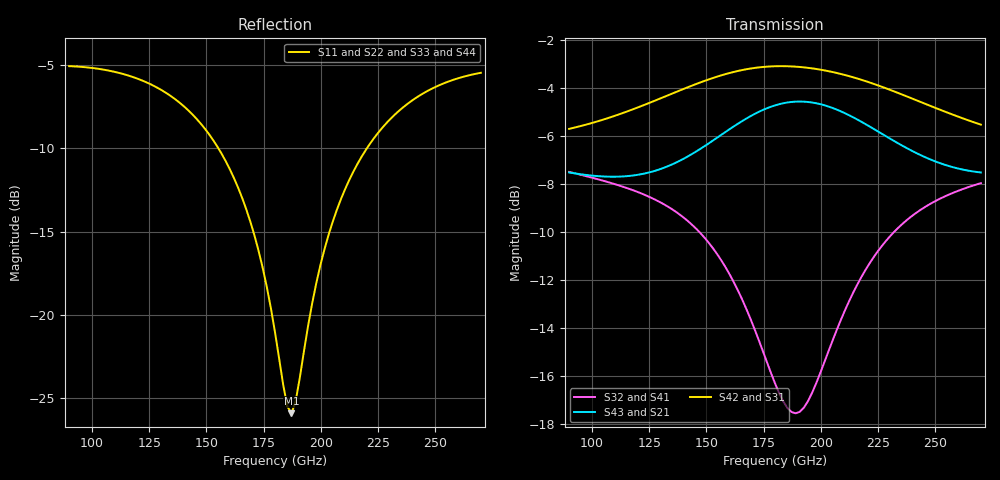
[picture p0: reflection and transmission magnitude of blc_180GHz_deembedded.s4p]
! Created with skrf 2.2.0 (http://scikit-rf.org).
# GHz S DB R 50.0
! Port[1] = P1
! Port[2] = P2
! Port[3] = P3
! Port[4] = P4
!freq dBS11 angS11 dBS12 angS12 dBS13 angS13
! dBS14 angS14
! dBS21 angS21 dBS22 angS22 dBS23 angS23
! dBS24 angS24
! dBS31 angS31 dBS32 angS32 dBS33 angS33
! dBS34 angS34
! dBS41 angS41 dBS42 angS42 dBS43 angS43
! dBS44 angS44
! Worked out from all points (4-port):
!   101 points, 90 GHz to 270 GHz, reference 50 ohm
!   strongest paths, dB at 90 GHz, 135 GHz, 180 GHz, 225 GHz, 270 GHz:
!     S42: -5.7, -4.2, -3.1, -3.9, -5.5
!     S31: -5.7, -4.2, -3.1, -3.9, -5.5
!     S43: -7.5, -7.2, -4.7, -5.8, -7.5
!     S21: -7.5, -7.2, -4.7, -5.8, -7.5
!     S32: -7.5, -9.0, -16.3, -10.8, -7.9
!     S41: -7.5, -9.0, -16.3, -10.8, -7.9
!   lowest |S11| = -25.9 dB at 187.2 GHz (marker M1), VSWR 1.11, Z = 55.3 - j0.741 ohm
!   |S11| at or under -10 dB: 155.2 GHz to 220.2 GHz (65.02 GHz wide, 34.6 % of centre)
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90  -5.08 159.3  -7.50 -47.6  -5.68 -78.2  -7.48 -60.8
    -7.50 -47.6  -5.08 159.3  -7.48 -60.7  -5.68 -78.2
    -5.68 -78.2  -7.48 -60.7  -5.08 159.3  -7.50 -47.7
    -7.48 -60.8  -5.68 -78.2  -7.50 -47.7  -5.08 159.3
154.8  -9.91 108.4  -6.04 -67.9  -3.50 -142.8  -10.92 -108.0
       -6.04 -67.9  -9.89 108.6  -10.92 -107.9  -3.50 -142.7
       -3.50 -142.8  -10.92 -107.9  -9.91 108.6  -6.05 -68.0
       -10.92 -108.0  -3.50 -142.7  -6.05 -68.0  -9.90 108.5
171  -15.23 84.5  -5.07 -79.4  -3.15 -162.9  -14.03 -115.1
     -5.07 -79.4  -15.20 84.7  -14.01 -115.0  -3.15 -162.8
     -3.15 -162.9  -14.01 -115.0  -15.25 84.7  -5.07 -79.4
     -14.03 -115.1  -3.15 -162.8  -5.07 -79.4  -15.21 84.6
187.2  -25.91 -7.6  -4.56 -94.3  -3.08 176.5  -17.52 -96.4
       -4.56 -94.3  -25.92 -6.5  -17.48 -96.4  -3.08 176.6
       -3.08 176.5  -17.48 -96.4  -26.01 -7.8  -4.56 -94.4
       -17.52 -96.4  -3.08 176.6  -4.56 -94.4  -25.92 -7.1
201.6  -16.08 -89.7  -4.70 -108.2  -3.25 158.5  -15.42 -71.8
       -4.70 -108.2  -16.12 -89.5  -15.40 -71.9  -3.25 158.5
       -3.25 158.5  -15.40 -71.9  -16.08 -89.8  -4.70 -108.2
       -15.42 -71.8  -3.25 158.5  -4.70 -108.2  -16.10 -89.6
216  -10.96 -111.4  -5.29 -120.3  -3.59 141.0  -12.17 -72.1
     -5.29 -120.3  -10.98 -111.2  -12.17 -72.2  -3.59 141.0
     -3.59 141.0  -12.17 -72.2  -10.95 -111.4  -5.30 -120.3
     -12.17 -72.1  -3.59 141.0  -5.30 -120.3  -10.97 -111.4
270  -5.48 -156.2  -7.49 -144.1  -5.51 84.9  -7.94 -112.0
     -7.49 -144.1  -5.48 -156.1  -7.95 -112.0  -5.51 84.9
     -5.51 84.9  -7.95 -112.0  -5.48 -156.2  -7.50 -144.1
     -7.94 -112.0  -5.51 84.9  -7.50 -144.1  -5.48 -156.2
